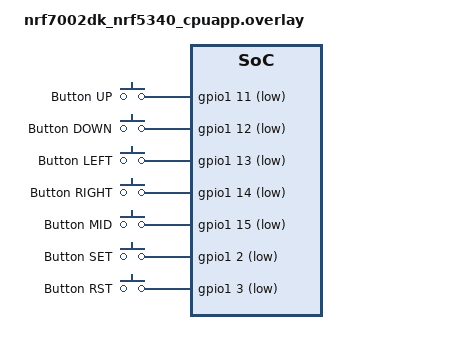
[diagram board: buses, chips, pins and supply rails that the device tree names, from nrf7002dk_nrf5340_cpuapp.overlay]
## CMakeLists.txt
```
#
# Copyright (c) 2019 Nordic Semiconductor ASA
#
# SPDX-License-Identifier: LicenseRef-Nordic-5-Clause
#
cmake_minimum_required(VERSION 3.20.0)

set(BOARD nrf7002dk_nrf5340_cpuapp)
set(DTC_OVERLAY_FILE nrf7002dk_nrf5340_cpuapp.overlay)

find_package(Zephyr REQUIRED HINTS $ENV{ZEPHYR_BASE})
project(BTMouse)

FILE(GLOB app_sources src/*.c)
# NORDIC SDK APP START
target_sources(app PRIVATE ${app_sources})
# NORDIC SDK APP END

zephyr_library_include_directories(${ZEPHYR_BASE}/samples/bluetooth)
```

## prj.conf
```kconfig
#
# Copyright (c) 2019 Nordic Semiconductor ASA
#
# SPDX-License-Identifier: LicenseRef-Nordic-5-Clause
#
CONFIG_NCS_SAMPLES_DEFAULTS=y

CONFIG_BT=y
CONFIG_BT_DEBUG_LOG=y
CONFIG_BT_MAX_CONN=3
CONFIG_BT_MAX_PAIRED=3
CONFIG_BT_L2CAP_TX_BUF_COUNT=5
CONFIG_BT_PERIPHERAL=y
CONFIG_BT_DEVICE_NAME="HessianBTMouse"
CONFIG_BT_DEVICE_APPEARANCE=962

CONFIG_BT_BAS=y
CONFIG_BT_HIDS=y
CONFIG_BT_HIDS_MAX_CLIENT_COUNT=2
CONFIG_BT_HIDS_ATTR_MAX=40
CONFIG_BT_HIDS_SECURITY_ENABLED=y
CONFIG_BT_GATT_UUID16_POOL_SIZE=40
CONFIG_BT_GATT_CHRC_POOL_SIZE=40


CONFIG_BT_CONN_CTX=y

CONFIG_BT_DIS=y
CONFIG_BT_DIS_PNP=y
CONFIG_BT_DIS_MANUF="NordicSemiconductor"
CONFIG_BT_DIS_PNP_VID_SRC=2
CONFIG_BT_DIS_PNP_VID=0x1915
CONFIG_BT_DIS_PNP_PID=0xEEEE
CONFIG_BT_DIS_PNP_VER=0x0100
# 解决
# W: Unable to allocate ATT TX meta
# W: No buffer available to send notification
CONFIG_BT_CONN_TX_MAX=40

CONFIG_HEAP_MEM_POOL_SIZE=4196
CONFIG_NFC_NDEF=y
CONFIG_NFC_NDEF_MSG=y
CONFIG_NFC_NDEF_RECORD=y
CONFIG_NFC_NDEF_URI_MSG=y
CONFIG_NFC_NDEF_URI_REC=y
CONFIG_NFC_NDEF_LAUNCHAPP_MSG=y
CONFIG_NFC_T2T_NRFXLIB=y
CONFIG_MAIN_STACK_SIZE=1536
CONFIG_SYSTEM_WORKQUEUE_STACK_SIZE=2048

CONFIG_DK_LIBRARY=y
```

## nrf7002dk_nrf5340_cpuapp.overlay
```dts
// To get started, press Ctrl+Space (or Option+Esc) to bring up the completion menu and view the available nodes.

// You can also use the buttons in the sidebar to perform actions on nodes.
// Actions currently available include:

// * Enabling / disabling the node
// * Adding the bus to a bus
// * Removing the node
// * Connecting ADC channels

// For more help, browse the DeviceTree documentation at https://docs.zephyrproject.org/latest/guides/dts/index.html
// You can also visit the nRF DeviceTree extension documentation at https://nrfconnect.github.io/vscode-nrf-connect/devicetree/nrfdevicetree.html

/ {
    buttons {
        button_up: button-up {
            gpios = <&gpio1 11 (GPIO_ACTIVE_LOW | GPIO_PULL_UP)>;
            label = "Button UP";
        };

        button_down: button-down {
            gpios = <&gpio1 12 (GPIO_ACTIVE_LOW | GPIO_PULL_UP)>;
            label = "Button DOWN";
        };

        button_left: button-left {
            gpios = <&gpio1 13 (GPIO_ACTIVE_LOW | GPIO_PULL_UP)>;
            label = "Button LEFT";
        };

        button_right: button-right {
            gpios = <&gpio1 14 (GPIO_ACTIVE_LOW | GPIO_PULL_UP)>;
            label = "Button RIGHT";
        };

        button_mid: button-mid {
            gpios = <&gpio1 15 (GPIO_ACTIVE_LOW | GPIO_PULL_UP)>;
            label = "Button MID";
        };

        button_set: button-set {
            gpios = <&gpio1 2 (GPIO_ACTIVE_LOW | GPIO_PULL_UP)>;
            label = "Button SET";
        };

        button_rst: button-rst {
            gpios = <&gpio1 3 (GPIO_ACTIVE_LOW | GPIO_PULL_UP)>;
            label = "Button RST";
        };
    };
};
/delete-node/ &{/pin-controller/i2c1_default/group1/};
/delete-node/ &{/pin-controller/i2c1_sleep/group1/};
```

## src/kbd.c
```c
//
// Created by Hessian on 2023/8/31.
//

#include <zephyr/types.h>
#include <stddef.h>
#include <string.h>
#include <errno.h>
#include <zephyr/sys/printk.h>
#include <zephyr/sys/byteorder.h>
#include <zephyr/kernel.h>
#include <zephyr/drivers/gpio.h>
#include <soc.h>
#include <assert.h>
#include <bluetooth/services/hids.h>
#include <dk_buttons_and_leds.h>

#include "kbd.h"


extern struct bt_hids hids_obj;

static const uint8_t INPUT_DEMO_STR[] = {
        HID_KEY_E,	/* Key h */
        HID_KEY_E,	/* Key e */
        HID_KEY_T,	/* Key l */
        HID_KEY_R,	/* Key l */
        HID_KEY_E,	/* Key o */
        HID_KEY_E,	/* Key o */
        HID_KEY_ENTER,	/* Key Return */
};

static const uint8_t shift_key[] = { 225 };

/* Current report status
 */
struct keyboard_state hid_keyboard_state;



/** @brief Change key code to ctrl code mask
 *
 *  Function changes the key code to the mask in the control code
 *  field inside the raport.
 *  Returns 0 if key code is not a control key.
 *
 *  @param key Key code
 *
 *  @return Mask of the control key or 0.
 */
static uint8_t button_ctrl_code(uint8_t key)
{
    if (KEY_CTRL_CODE_MIN <= key && key <= KEY_CTRL_CODE_MAX) {
        return (uint8_t)(1U << (key - KEY_CTRL_CODE_MIN));
    }
    return 0;
}


static int hid_kbd_state_key_set(uint8_t key)
{
    uint8_t ctrl_mask = button_ctrl_code(key);

    if (ctrl_mask) {
        hid_keyboard_state.ctrl_keys_state |= ctrl_mask;
        return 0;
    }
    for (size_t i = 0; i < KEY_PRESS_MAX; ++i) {
        if (hid_keyboard_state.keys_state[i] == 0) {
            hid_keyboard_state.keys_state[i] = key;
            return 0;
        }
    }
    /* All slots busy */
    return -EBUSY;
}


static int hid_kbd_state_key_clear(uint8_t key)
{
    uint8_t ctrl_mask = button_ctrl_code(key);

    if (ctrl_mask) {
        hid_keyboard_state.ctrl_keys_state &= ~ctrl_mask;
        return 0;
    }
    for (size_t i = 0; i < KEY_PRESS_MAX; ++i) {
        if (hid_keyboard_state.keys_state[i] == key) {
            hid_keyboard_state.keys_state[i] = 0;
            return 0;
        }
    }
    /* Key not found */
    return -EINVAL;
}

/** @brief Press a button and send report
 *
 *  @note Functions to manipulate hid state are not reentrant
 *  @param keys
 *  @param cnt
 *
 *  @return 0 on success or negative error code.
 */
static int hid_buttons_press(const uint8_t *keys, size_t cnt)
{
    while (cnt--) {
        int err;

        err = hid_kbd_state_key_set(*keys++);
        if (err) {
            printk("Cannot set selected key.\n");
            return err;
        }
    }

    return key_report_send();
}

/** @brief Release the button and send report
 *
 *  @note Functions to manipulate hid state are not reentrant
 *  @param keys
 *  @param cnt
 *
 *  @return 0 on success or negative error code.
 */
static int hid_buttons_release(const uint8_t *keys, size_t cnt)
{
    while (cnt--) {
        int err;

        err = hid_kbd_state_key_clear(*keys++);
        if (err) {
            printk("Cannot clear selected key.\n");
            return err;
        }
    }

    return key_report_send();
}


void button_text_changed(bool down)
{
    static const uint8_t *chr = INPUT_DEMO_STR;

    if (down) {
        hid_buttons_press(chr, 1);
    } else {
        hid_buttons_release(chr, 1);
        if (++chr == (INPUT_DEMO_STR + sizeof(INPUT_DEMO_STR))) {
            chr = INPUT_DEMO_STR;
        }
    }
}

void type_demo_chars()
{
    for (int i = 0; i < ARRAY_SIZE(INPUT_DEMO_STR); ++i) {
        hid_buttons_press(&INPUT_DEMO_STR[i], 1);
        k_sleep(K_MSEC(5));
        hid_buttons_release(&INPUT_DEMO_STR[i], 1);
        k_sleep(K_MSEC(200));
    }
}


static void button_shift_changed(bool down)
{
    if (down) {
        hid_buttons_press(shift_key, 1);
    } else {
        hid_buttons_release(shift_key, 1);
    }
}


void caps_lock_handler(const struct bt_hids_rep *rep)
{
    uint8_t report_val = ((*rep->data) & OUTPUT_REPORT_BIT_MASK_CAPS_LOCK) ?
                         1 : 0;
    dk_set_led(DK_LED1, report_val);
}
```

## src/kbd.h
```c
//
// Created by Hessian on 2023/8/31.
//

#ifndef BTMOUSE_KBD_H
#define BTMOUSE_KBD_H

#define INPUT_REP_KEYS_REF_ID       4
#define INPUT_REP_KEYS_IDX          3



/* ********************* */
/* Buttons configuration */

/* Note: The configuration below is the same as BOOT mode configuration
 * This simplifies the code as the BOOT mode is the same as REPORT mode.
 * Changing this configuration would require separate implementation of
 * BOOT mode report generation.
 */
#define KEY_CTRL_CODE_MIN 224 /* Control key codes - required 8 of them */
#define KEY_CTRL_CODE_MAX 231 /* Control key codes - required 8 of them */
#define KEY_CODE_MIN      0   /* Normal key codes */
#define KEY_CODE_MAX      101 /* Normal key codes */
#define KEY_PRESS_MAX     6   /* Maximum number of non-control keys
			       * pressed simultaneously
			       */

/* Number of bytes in key report
 *
 * 1B - control keys
 * 1B - reserved
 * rest - non-control keys
 */
#define INPUT_REPORT_KEYS_MAX_LEN (1 + 1 + KEY_PRESS_MAX)

/* Current report map construction requires exactly 8 buttons */
BUILD_ASSERT((KEY_CTRL_CODE_MAX - KEY_CTRL_CODE_MIN) + 1 == 8);

#define OUTPUT_REPORT_MAX_LEN            1
#define OUTPUT_REPORT_BIT_MASK_CAPS_LOCK 0x02
#define OUTPUT_REP_KEYS_REF_ID           1
#define MODIFIER_KEY_POS                 0
#define SHIFT_KEY_CODE                   0x02
#define SCAN_CODE_POS                    2
#define KEYS_MAX_LEN                    (INPUT_REPORT_KEYS_MAX_LEN - \
					SCAN_CODE_POS)

/* OUT report internal indexes.
 *
 * This is a position in internal report table and is not related to
 * report ID.
 */
enum {
    OUTPUT_REP_KEYS_IDX = 0
};


#define ADV_LED_BLINK_INTERVAL  1000

#define ADV_STATUS_LED DK_LED1
#define CON_STATUS_LED DK_LED2
#define LED_CAPS_LOCK  DK_LED3
#define NFC_LED	       DK_LED4
#define KEY_TEXT_MASK  DK_BTN2_MSK


//--------------------------------------------------------------------+
// HID KEYCODE
//--------------------------------------------------------------------+
#define HID_KEY_NONE                      0x00
#define HID_KEY_A                         0x04
#define HID_KEY_B                         0x05
#define HID_KEY_C                         0x06
#define HID_KEY_D                         0x07
#define HID_KEY_E                         0x08
#define HID_KEY_F                         0x09
#define HID_KEY_G                         0x0A
#define HID_KEY_H                         0x0B
#define HID_KEY_I                         0x0C
#define HID_KEY_J                         0x0D
#define HID_KEY_K                         0x0E
#define HID_KEY_L                         0x0F
#define HID_KEY_M                         0x10
#define HID_KEY_N                         0x11
#define HID_KEY_O                         0x12
#define HID_KEY_P                         0x13
#define HID_KEY_Q                         0x14
#define HID_KEY_R                         0x15
#define HID_KEY_S                         0x16
#define HID_KEY_T                         0x17
#define HID_KEY_U                         0x18
#define HID_KEY_V                         0x19
#define HID_KEY_W                         0x1A
#define HID_KEY_X                         0x1B
#define HID_KEY_Y                         0x1C
#define HID_KEY_Z                         0x1D
#define HID_KEY_1                         0x1E
#define HID_KEY_2                         0x1F
#define HID_KEY_3                         0x20
#define HID_KEY_4                         0x21
#define HID_KEY_5                         0x22
#define HID_KEY_6                         0x23
#define HID_KEY_7                         0x24
#define HID_KEY_8                         0x25
#define HID_KEY_9                         0x26
#define HID_KEY_0                         0x27
#define HID_KEY_ENTER                     0x28
#define HID_KEY_ESCAPE                    0x29
#define HID_KEY_BACKSPACE                 0x2A
#define HID_KEY_TAB                       0x2B
#define HID_KEY_SPACE                     0x2C
#define HID_KEY_MINUS                     0x2D
#define HID_KEY_EQUAL                     0x2E
#define HID_KEY_BRACKET_LEFT              0x2F
#define HID_KEY_BRACKET_RIGHT             0x30
#define HID_KEY_BACKSLASH                 0x31
#define HID_KEY_EUROPE_1                  0x32
#define HID_KEY_SEMICOLON                 0x33
#define HID_KEY_APOSTROPHE                0x34
#define HID_KEY_GRAVE                     0x35
#define HID_KEY_COMMA                     0x36
#define HID_KEY_PERIOD                    0x37
#define HID_KEY_SLASH                     0x38
#define HID_KEY_CAPS_LOCK                 0x39
#define HID_KEY_F1                        0x3A
#define HID_KEY_F2                        0x3B
#define HID_KEY_F3                        0x3C
#define HID_KEY_F4                        0x3D
#define HID_KEY_F5                        0x3E
#define HID_KEY_F6                        0x3F
#define HID_KEY_F7                        0x40
#define HID_KEY_F8                        0x41
#define HID_KEY_F9                        0x42
#define HID_KEY_F10                       0x43
#define HID_KEY_F11                       0x44
#define HID_KEY_F12                       0x45
#define HID_KEY_PRINT_SCREEN              0x46
#define HID_KEY_SCROLL_LOCK               0x47
#define HID_KEY_PAUSE                     0x48
#define HID_KEY_INSERT                    0x49
#define HID_KEY_HOME                      0x4A
#define HID_KEY_PAGE_UP                   0x4B
#define HID_KEY_DELETE                    0x4C
#define HID_KEY_END                       0x4D
#define HID_KEY_PAGE_DOWN                 0x4E
#define HID_KEY_ARROW_RIGHT               0x4F
#define HID_KEY_ARROW_LEFT                0x50
#define HID_KEY_ARROW_DOWN                0x51
#define HID_KEY_ARROW_UP                  0x52
#define HID_KEY_NUM_LOCK                  0x53
#define HID_KEY_KEYPAD_DIVIDE             0x54
#define HID_KEY_KEYPAD_MULTIPLY           0x55
#define HID_KEY_KEYPAD_SUBTRACT           0x56
#define HID_KEY_KEYPAD_ADD                0x57
#define HID_KEY_KEYPAD_ENTER              0x58
#define HID_KEY_KEYPAD_1                  0x59
#define HID_KEY_KEYPAD_2                  0x5A
#define HID_KEY_KEYPAD_3                  0x5B
#define HID_KEY_KEYPAD_4                  0x5C
#define HID_KEY_KEYPAD_5                  0x5D
#define HID_KEY_KEYPAD_6                  0x5E
#define HID_KEY_KEYPAD_7                  0x5F
#define HID_KEY_KEYPAD_8                  0x60
#define HID_KEY_KEYPAD_9                  0x61
#define HID_KEY_KEYPAD_0                  0x62
#define HID_KEY_KEYPAD_DECIMAL            0x63
#define HID_KEY_EUROPE_2                  0x64
#define HID_KEY_APPLICATION               0x65
#define HID_KEY_POWER                     0x66
#define HID_KEY_KEYPAD_EQUAL              0x67
#define HID_KEY_F13                       0x68
#define HID_KEY_F14                       0x69
#define HID_KEY_F15                       0x6A
#define HID_KEY_F16                       0x6B
#define HID_KEY_F17                       0x6C
#define HID_KEY_F18                       0x6D
#define HID_KEY_F19                       0x6E
#define HID_KEY_F20                       0x6F
#define HID_KEY_F21                       0x70
#define HID_KEY_F22                       0x71
#define HID_KEY_F23                       0x72
#define HID_KEY_F24                       0x73
#define HID_KEY_EXECUTE                   0x74
#define HID_KEY_HELP                      0x75
#define HID_KEY_MENU                      0x76
#define HID_KEY_SELECT                    0x77
#define HID_KEY_STOP                      0x78
#define HID_KEY_AGAIN                     0x79
#define HID_KEY_UNDO                      0x7A
#define HID_KEY_CUT                       0x7B
#define HID_KEY_COPY                      0x7C
#define HID_KEY_PASTE                     0x7D
#define HID_KEY_FIND                      0x7E
#define HID_KEY_MUTE                      0x7F
#define HID_KEY_VOLUME_UP                 0x80
#define HID_KEY_VOLUME_DOWN               0x81
#define HID_KEY_LOCKING_CAPS_LOCK         0x82
#define HID_KEY_LOCKING_NUM_LOCK          0x83
#define HID_KEY_LOCKING_SCROLL_LOCK       0x84
#define HID_KEY_KEYPAD_COMMA              0x85
#define HID_KEY_KEYPAD_EQUAL_SIGN         0x86
#define HID_KEY_KANJI1                    0x87
#define HID_KEY_KANJI2                    0x88
#define HID_KEY_KANJI3                    0x89
#define HID_KEY_KANJI4                    0x8A
#define HID_KEY_KANJI5                    0x8B
#define HID_KEY_KANJI6                    0x8C
#define HID_KEY_KANJI7                    0x8D
#define HID_KEY_KANJI8                    0x8E
#define HID_KEY_KANJI9                    0x8F
#define HID_KEY_LANG1                     0x90
#define HID_KEY_LANG2                     0x91
#define HID_KEY_LANG3                     0x92
#define HID_KEY_LANG4                     0x93
#define HID_KEY_LANG5                     0x94
#define HID_KEY_LANG6                     0x95
#define HID_KEY_LANG7                     0x96
#define HID_KEY_LANG8                     0x97
#define HID_KEY_LANG9                     0x98
#define HID_KEY_ALTERNATE_ERASE           0x99
#define HID_KEY_SYSREQ_ATTENTION          0x9A
#define HID_KEY_CANCEL                    0x9B
#define HID_KEY_CLEAR                     0x9C
#define HID_KEY_PRIOR                     0x9D
#define HID_KEY_RETURN                    0x9E
#define HID_KEY_SEPARATOR                 0x9F
#define HID_KEY_OUT                       0xA0
#define HID_KEY_OPER                      0xA1
#define HID_KEY_CLEAR_AGAIN               0xA2
#define HID_KEY_CRSEL_PROPS               0xA3
#define HID_KEY_EXSEL                     0xA4
// RESERVED					                      0xA5-DF
#define HID_KEY_CONTROL_LEFT              0xE0
#define HID_KEY_SHIFT_LEFT                0xE1
#define HID_KEY_ALT_LEFT                  0xE2
#define HID_KEY_GUI_LEFT                  0xE3
#define HID_KEY_CONTROL_RIGHT             0xE4
#define HID_KEY_SHIFT_RIGHT               0xE5
#define HID_KEY_ALT_RIGHT                 0xE6
#define HID_KEY_GUI_RIGHT                 0xE7


/* Current report status
 */
struct keyboard_state {
    uint8_t ctrl_keys_state; /* Current keys state */
    uint8_t keys_state[KEY_PRESS_MAX];
};

int key_report_con_send(const struct keyboard_state *state,
                        bool boot_mode,
                        struct bt_conn *conn);
int key_report_send(void);
void caps_lock_handler(const struct bt_hids_rep *rep);
void button_text_changed(bool down);
void type_demo_chars();

#endif //BTMOUSE_KBD_H
```

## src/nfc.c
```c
/*
 * Copyright (c) 2021 Nordic Semiconductor ASA
 *
 * SPDX-License-Identifier: LicenseRef-Nordic-5-Clause
 */

#include <zephyr/kernel.h>
#include <zephyr/sys/reboot.h>

#include <nfc_t2t_lib.h>
#include <nfc/ndef/launchapp_msg.h>

#include <dk_buttons_and_leds.h>
#include <nfc/ndef/uri_msg.h>

#define NDEF_MSG_BUF_SIZE	256
#define NFC_FIELD_LED		DK_LED1

/* Buffer used to hold an NFC NDEF message. */
static uint8_t ndef_msg_buf[NDEF_MSG_BUF_SIZE];


static void nfc_callback(void *context,
			 nfc_t2t_event_t event,
			 const uint8_t *data,
			 size_t data_length)
{
	ARG_UNUSED(context);
	ARG_UNUSED(data);
	ARG_UNUSED(data_length);

	switch (event) {
	case NFC_T2T_EVENT_FIELD_ON:
		dk_set_led_on(NFC_FIELD_LED);
		break;
	case NFC_T2T_EVENT_FIELD_OFF:
		dk_set_led_off(NFC_FIELD_LED);
		break;
	default:
		break;
	}
}

void nfc_task(void)
{
	int err;
	size_t len = sizeof(ndef_msg_buf);

	printk("Starting NFC Launch app example\n");

	/* Configure LED-pins as outputs */
	err = dk_leds_init();
	if (err) {
		printk("Cannot init LEDs!\n");
		goto fail;
	}

	/* Set up NFC */
	err = nfc_t2t_setup(nfc_callback, NULL);
	if (err) {
		printk("Cannot setup NFC T2T library!\n");
		goto fail;
	}

	/* Encode launch app data  */
//	err = nfc_launchapp_msg_encode(android_pkg_name,
//				       sizeof(android_pkg_name)-1,
//				       universal_link,
//				       sizeof(universal_link)-1,
//				       ndef_msg_buf,
//				       &len);

    const uint8_t url[] = "//www.eetree.cn/page/digikey-funpack";
	/* Encode launch URI  */
	err = nfc_ndef_uri_msg_encode(NFC_URI_HTTPS,
                                  url,
				       sizeof(url)-1,
				       ndef_msg_buf,
				       &len);
	if (err) {
		printk("Cannot encode message!\n");
		goto fail;
	}

	/* Set created message as the NFC payload */
	err = nfc_t2t_payload_set(ndef_msg_buf, len);
	if (err) {
		printk("Cannot set payload!\n");
		goto fail;
	}

	/* Start sensing NFC field */
	err = nfc_t2t_emulation_start();
	if (err) {
		printk("Cannot start emulation!\n");
		goto fail;
	}

	printk("NFC configuration done\n");
	return;

fail:
#if CONFIG_REBOOT
	sys_reboot(SYS_REBOOT_COLD);
#endif /* CONFIG_REBOOT */

}
```

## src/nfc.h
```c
//
// Created by Hessian on 2023/9/3.
//

#ifndef BTMOUSE_NFC_H
#define BTMOUSE_NFC_H

void nfc_task(void);

#endif //BTMOUSE_NFC_H
```
